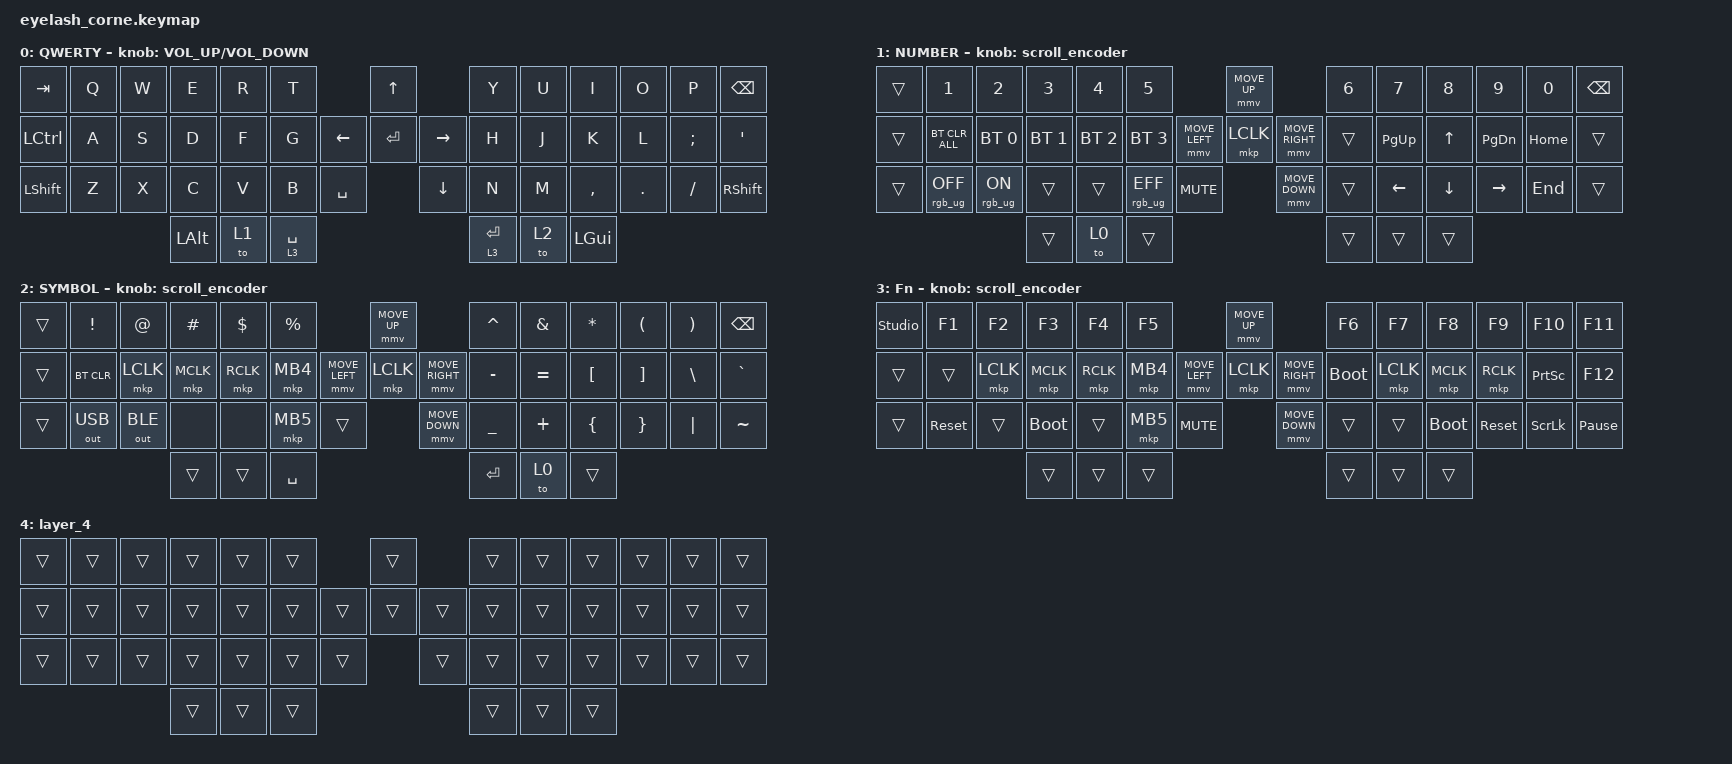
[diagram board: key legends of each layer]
#define ZMK_POINTING_DEFAULT_MOVE_VAL 1200  // 600
#define ZMK_POINTING_DEFAULT_SCRL_VAL 25   // 10

#include <input/processors.dtsi>
#include <zephyr/dt-bindings/input/input-event-codes.h>
#include <behaviors.dtsi>
#include <dt-bindings/zmk/bt.h>
#include <dt-bindings/zmk/keys.h>
#include <dt-bindings/zmk/outputs.h>
#include <dt-bindings/zmk/pointing.h>
#include <dt-bindings/zmk/rgb.h>

&mmv_input_listener { input-processors = <&zip_xy_scaler 2 1>; };

&msc_input_listener { input-processors = <&zip_scroll_scaler 2 1>; };

&msc {
    acceleration-exponent = <1>;      // 0
    time-to-max-speed-ms = <100>;       // 300
    delay-ms = <0>;                   // 0
};

&mmv {
    time-to-max-speed-ms = <500>;
    acceleration-exponent = <1>;
    trigger-period-ms = <16>;
};

/ {
    behaviors {
        td0: td0 {
            compatible = "zmk,behavior-tap-dance";
            display-name = "Shift/Caps Lock Tap Dance";
            #binding-cells = <0>;
            bindings = <&kp LEFT_SHIFT>, <&kp CAPS>;
        };
    };

    rgb_encoder: rgb_encoder {
        compatible = "zmk,behavior-sensor-rotate";
        #sensor-binding-cells = <0>;
        bindings = <&rgb_ug RGB_BRI>, <&rgb_ug RGB_BRD>;
    };

    scroll_encoder: scroll_encoder {
        compatible = "zmk,behavior-sensor-rotate";
        #sensor-binding-cells = <0>;
        bindings = <&msc SCRL_DOWN>, <&msc SCRL_UP>;

        tap-ms = <100>;
    };

    combos {
        compatible = "zmk,combos";

        qw_escape {
            bindings = <&kp ESC>;
            key-positions = <1 2>;
        };

        shift_z_hangul {
            bindings = <&kp LANG_HANGEUL>;
            key-positions = <28 29>;
        };

        asd_caps {
            bindings = <&kp CAPS>;
            key-positions = <14 15 16>;
        };
    };

    keymap {
        compatible = "zmk,keymap";

        default_layer {
            display-name = "QWERTY";
            bindings = <
&kp TAB    &kp Q  &kp W  &kp E     &kp R  &kp T                               &kp UP                &kp Y        &kp U  &kp I      &kp O    &kp P     &kp BSPC
&kp LCTRL  &kp A  &kp S  &kp D     &kp F  &kp G                     &kp LEFT  &kp ENTER  &kp RIGHT  &kp H        &kp J  &kp K      &kp L    &kp SEMI  &kp SQT
&kp LSHFT  &kp Z  &kp X  &kp C     &kp V  &kp B        &kp SPACE              &kp DOWN              &kp N        &kp M  &kp COMMA  &kp DOT  &kp FSLH  &kp RSHFT
                         &kp LALT  &to 1  &lt 3 SPACE                                               &lt 3 ENTER  &to 2  &kp LGUI
            >;

            sensor-bindings = <&inc_dec_kp C_VOLUME_UP C_VOLUME_DOWN>;
        };

        lower_layer {
            display-name = "NUMBER";
            bindings = <
&trans  &kp N1           &kp N2          &kp N3        &kp N4        &kp N5                                         &mmv MOVE_UP                     &kp N6  &kp N7       &kp N8    &kp N9         &kp N0    &kp BSPC
&trans  &bt BT_CLR_ALL   &bt BT_SEL 0    &bt BT_SEL 1  &bt BT_SEL 2  &bt BT_SEL 3                   &mmv MOVE_LEFT  &mkp LCLK       &mmv MOVE_RIGHT  &trans  &kp PAGE_UP  &kp UP    &kp PAGE_DOWN  &kp HOME  &trans
&trans  &rgb_ug RGB_OFF  &rgb_ug RGB_ON  &trans        &trans        &rgb_ug RGB_EFF  &kp C_MUTE                    &mmv MOVE_DOWN                   &trans  &kp LEFT     &kp DOWN  &kp RIGHT      &kp END   &trans
                                         &trans        &to 0         &trans                                                                          &trans  &trans       &trans
            >;

            sensor-bindings = <&scroll_encoder>;
        };

        raise_layer {
            display-name = "SYMBOL";
            bindings = <
&trans  &kp EXCL      &kp AT        &kp HASH   &kp DLLR   &kp PRCNT                            &mmv MOVE_UP                     &kp CARET  &kp AMPS   &kp ASTRK  &kp LPAR  &kp RPAR  &kp BSPC
&trans  &bt BT_CLR    &mkp LCLK     &mkp MCLK  &mkp RCLK  &mkp MB4             &mmv MOVE_LEFT  &mkp LCLK       &mmv MOVE_RIGHT  &kp MINUS  &kp EQUAL  &kp LBKT   &kp RBKT  &kp BSLH  &kp GRAVE
&trans  &out OUT_USB  &out OUT_BLE  &none      &none      &mkp MB5   &trans                    &mmv MOVE_DOWN                   &kp UNDER  &kp PLUS   &kp LBRC   &kp RBRC  &kp PIPE  &kp TILDE
                                    &trans     &trans     &kp SPACE                                                             &kp RET    &to 0      &trans
            >;

            sensor-bindings = <&scroll_encoder>;
        };

        layer_3 {
            display-name = "Fn";
            bindings = <
&studio_unlock  &kp F1      &kp F2     &kp F3       &kp F4     &kp F5                                  &mmv MOVE_UP                     &kp F6       &kp F7     &kp F8       &kp F9      &kp F10          &kp F11
&trans          &trans      &mkp LCLK  &mkp MCLK    &mkp RCLK  &mkp MB4                &mmv MOVE_LEFT  &mkp LCLK       &mmv MOVE_RIGHT  &bootloader  &mkp LCLK  &mkp MCLK    &mkp RCLK   &kp PRINTSCREEN  &kp F12
&trans          &sys_reset  &trans     &bootloader  &trans     &mkp MB5  &kp C_MUTE                    &mmv MOVE_DOWN                   &trans       &trans     &bootloader  &sys_reset  &kp SCROLLLOCK   &kp PAUSE_BREAK
                                       &trans       &trans     &trans                                                                   &trans       &trans     &trans
            >;

            sensor-bindings = <&scroll_encoder>;
        };

        layer_4 {
            bindings = <
&trans  &trans  &trans  &trans  &trans  &trans                    &trans          &trans  &trans  &trans  &trans  &trans  &trans
&trans  &trans  &trans  &trans  &trans  &trans            &trans  &trans  &trans  &trans  &trans  &trans  &trans  &trans  &trans
&trans  &trans  &trans  &trans  &trans  &trans  &trans            &trans          &trans  &trans  &trans  &trans  &trans  &trans
                        &trans  &trans  &trans                                    &trans  &trans  &trans
            >;
        };
    };
};
